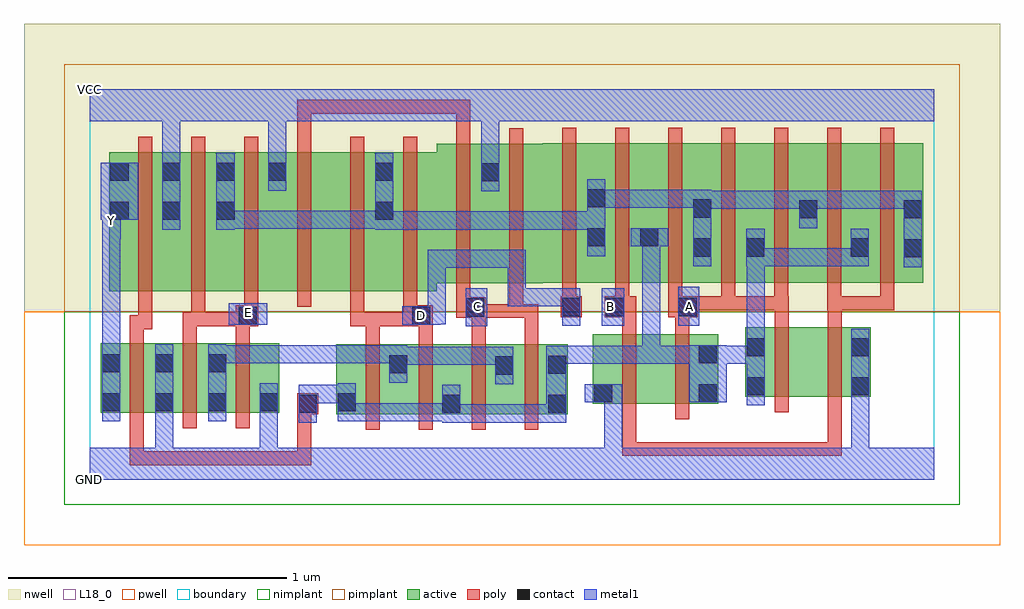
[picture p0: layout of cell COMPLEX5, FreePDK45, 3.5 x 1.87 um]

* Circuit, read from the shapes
.subckt COMPLEX5 A B C D E GND VCC Y
M1 GND n1 Y VSUBS nfet w=0.25u l=0.05u
M2 n2 E GND VSUBS nfet w=0.25u l=0.05u m=2
M3 n2 D n1 VSUBS nfet w=0.25u l=0.05u m=2
M4 n2 C n1 VSUBS nfet w=0.25u l=0.05u m=2
M5 n3 B GND VSUBS nfet w=0.25u l=0.05u
M6 n1 A n3 VSUBS nfet w=0.25u l=0.05u
M7 n4 A n1 VSUBS nfet w=0.25u l=0.05u
M8 GND B n4 VSUBS nfet w=0.25u l=0.05u
M9 VCC n1 Y n5 pfet w=0.5u l=0.05u
M10 n6 E VCC n5 pfet w=0.5u l=0.05u m=2
M11 n7 C VCC n5 pfet w=0.5u l=0.05u
M12 n6 D n7 n5 pfet w=0.5u l=0.05u
M13 n8 D n6 n5 pfet w=0.5u l=0.05u
M14 VCC C n8 n5 pfet w=0.5u l=0.05u
M15 n9 C VCC n5 pfet w=0.5u l=0.05u
M16 n6 D n9 n5 pfet w=0.5u l=0.05u
M17 n1 B n6 n5 pfet w=0.5u l=0.05u m=3
M18 n6 A n1 n5 pfet w=0.5u l=0.05u m=3
.ends

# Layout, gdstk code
import gdstk
lib = gdstk.Library(unit=1e-6, precision=1e-09)
def R(c, l, rs):  # rectangles x0, y0, x1, y1
    for r in rs: c.add(gdstk.rectangle(r[:2], r[2:], *l))
def A(c, l, x, y, w, h, nx, ny, dx, dy):  # array of equal rectangles
    R(c, l, [(x+i*dx, y+j*dy, x+i*dx+w, y+j*dy+h) for i in range(nx) for j in range(ny)])
active = (1, 0)
pwell = (2, 0)
nwell = (3, 0)
nimplant = (4, 0)
pimplant = (5, 0)
poly = (9, 0)
contact = (10, 0)
metal1 = (11, 0)
L18_0 = (18, 0)
boundary = (235, 0)

complex5 = lib.new_cell('COMPLEX5')
A(complex5, active, 1.07, 0.235, 0.265, 0.25, 3, 1, 0.19, 0)
A(complex5, active, 0.04, 0.24, 0.075, 0.25, 3, 1, 0.19, 0)
A(complex5, active, 1.78, 0.707, 0.265, 0.5, 4, 1, 0.19, 0)
A(complex5, active, 1.78, 0.707, 0.075, 0.45, 3, 1, 0.38, 0)
R(complex5, active, [(0.885,0.235,0.96,0.485), (0.885,0.235,1.145,0.485), (1.26,0.235,1.335,0.44), (1.64,0.235,1.715,0.485), (0.04,0.24,0.305,0.49), (0.23,0.24,0.495,0.49), (0.42,0.24,0.68,0.49), (0.605,0.24,0.68,0.49), (1.805,0.272,1.88,0.522), (1.805,0.272,2.03,0.522), (2.03,0.272,2.255,0.522), (2.18,0.272,2.255,0.522), (1.07,0.297,1.145,0.452), (1.45,0.297,1.525,0.447), (2.352,0.297,2.427,0.547), (2.352,0.297,2.577,0.547), (2.577,0.297,2.802,0.547), (2.727,0.297,2.802,0.547), (0.07,0.675,0.33,1.175), (0.07,0.675,0.145,1.157), (0.255,0.675,0.33,1.157), (0.255,0.675,0.525,1.175), (0.45,0.675,0.71,1.175), (0.45,0.675,0.525,1.157), (0.635,0.675,0.865,1.175), (0.865,0.675,1.095,1.175), (1.02,0.675,1.245,1.175), (1.02,0.675,1.095,1.165), (1.245,0.705,1.475,1.205), (1.4,0.705,1.625,1.205), (1.625,0.707,1.855,1.207), (1.97,0.707,2.045,1.07), (2.35,0.707,2.425,1.07), (2.54,0.707,2.8,1.207), (2.725,0.707,2.99,1.207), (2.725,0.707,2.8,1.07), (2.915,0.707,2.99,1.165), (0.635,0.777,0.71,1.175), (1.4,0.807,1.475,1.205)])
R(complex5, pwell, [(-0.235,-0.235,3.265,0.602)])
R(complex5, nwell, [(-0.235,0.602,3.265,1.635)])
R(complex5, nimplant, [(-0.09,-0.09,3.12,0.602)])
R(complex5, pimplant, [(-0.09,0.602,3.12,1.49)])
A(complex5, poly, 0.99, 0.18, 0.05, 0.36, 4, 1, 0.19, 0)
A(complex5, poly, 0.145, 0.185, 0.05, 0.36, 3, 1, 0.19, 0)
A(complex5, poly, 1.695, 0.607, 0.05, 0.095, 7, 1, 0.19, 0)
A(complex5, poly, 0.175, 0.62, 0.05, 0.61, 6, 1, 0.19, 0)
A(complex5, poly, 1.695, 0.652, 0.05, 0.61, 7, 1, 0.19, 0)
R(complex5, poly, [(0.145,0.052,0.195,0.102), (0.145,0.052,0.195,0.102), (0.145,0.052,0.195,0.102), (0.145,0.052,0.442,0.102), (0.145,0.052,0.195,0.235), (0.392,0.052,0.442,0.102), (0.392,0.052,0.442,0.102), (0.392,0.052,0.442,0.102), (0.392,0.052,0.575,0.102), (0.525,0.052,0.575,0.102), (0.525,0.052,0.575,0.102), (0.525,0.052,0.575,0.102), (0.525,0.052,0.795,0.102), (0.745,0.052,0.795,0.102), (0.745,0.052,0.795,0.285), (1.91,0.085,1.96,0.135), (1.91,0.085,1.96,0.135), (1.91,0.085,1.96,0.135), (1.91,0.085,2.092,0.135), (1.91,0.085,1.96,0.267), (2.042,0.085,2.092,0.135), (2.042,0.085,2.092,0.135), (2.042,0.085,2.092,0.135), (2.042,0.085,2.315,0.135), (2.265,0.085,2.315,0.135), (2.265,0.085,2.315,0.135), (2.265,0.085,2.315,0.135), (2.265,0.085,2.562,0.135), (2.512,0.085,2.562,0.135), (2.512,0.085,2.562,0.135), (2.512,0.085,2.562,0.135), (2.512,0.085,2.697,0.135), (2.647,0.085,2.697,0.135), (2.647,0.085,2.697,0.292), (1.91,0.217,1.96,0.577), (2.1,0.217,2.15,0.577), (0.745,0.235,0.82,0.31), (2.457,0.242,2.507,0.602), (2.647,0.242,2.697,0.602), (0.99,0.49,1.04,0.6), (1.18,0.49,1.23,0.6), (1.37,0.49,1.42,0.63), (1.56,0.49,1.61,0.63), (0.145,0.495,0.195,0.59), (0.335,0.495,0.385,0.6), (0.525,0.495,0.575,0.6), (1.91,0.527,1.96,0.632), (2.1,0.527,2.15,0.632), (0.145,0.54,0.225,0.59), (0.175,0.54,0.225,0.67), (0.335,0.55,0.415,0.6), (0.365,0.55,0.415,0.6), (0.365,0.55,0.415,0.6), (0.365,0.55,0.415,0.67), (0.365,0.55,0.575,0.6), (0.525,0.55,0.605,0.625), (0.935,0.55,0.985,0.67), (0.935,0.55,1.04,0.6), (0.99,0.55,1.175,0.6), (1.125,0.55,1.175,0.6), (1.125,0.55,1.175,0.6), (1.125,0.55,1.23,0.625), (2.457,0.552,2.507,0.657), (2.647,0.552,2.697,0.657), (0.555,0.575,0.605,0.67), (1.125,0.575,1.175,0.67), (1.315,0.58,1.42,0.655), (1.37,0.58,1.555,0.63), (1.505,0.58,1.555,0.63), (1.505,0.58,1.555,0.63), (1.505,0.58,1.555,0.7), (1.505,0.58,1.61,0.63), (1.69,0.582,1.765,0.657), (1.847,0.582,1.96,0.657), (2.075,0.582,2.182,0.657), (1.315,0.605,1.365,0.7), (2.132,0.607,2.182,0.657), (2.132,0.607,2.182,0.657), (2.132,0.607,2.315,0.657), (2.265,0.607,2.315,0.657), (2.265,0.607,2.315,0.657), (2.265,0.607,2.315,0.657), (2.265,0.607,2.505,0.657), (2.455,0.607,2.507,0.657), (2.645,0.607,2.697,0.657), (2.647,0.607,2.885,0.657), (2.647,0.607,2.697,0.657), (2.647,0.607,2.697,0.657), (2.835,0.607,2.885,0.657), (1.315,0.65,1.365,1.26), (1.505,0.65,1.555,1.26), (0.745,1.18,0.795,1.362), (1.315,1.21,1.365,1.362), (0.745,1.312,0.795,1.362), (0.745,1.312,0.795,1.362), (0.745,1.312,0.795,1.362), (0.745,1.312,1.04,1.362), (0.99,1.312,1.04,1.362), (0.99,1.312,1.172,1.362), (1.122,1.312,1.172,1.362), (1.122,1.312,1.172,1.362), (1.122,1.312,1.172,1.362), (1.122,1.312,1.365,1.362), (1.315,1.312,1.365,1.362), (1.315,1.312,1.365,1.362), (1.315,1.312,1.365,1.362)])
A(complex5, contact, 0.045, 0.245, 0.065, 0.065, 3, 2, 0.19, 0.14)
R(complex5, contact, [(0.75,0.24,0.815,0.305), (1.265,0.24,1.33,0.305), (1.645,0.24,1.71,0.305), (0.61,0.245,0.675,0.31), (0.89,0.245,0.955,0.31), (1.81,0.277,1.875,0.342), (2.185,0.277,2.25,0.342), (2.357,0.302,2.422,0.367), (2.732,0.302,2.797,0.367), (1.455,0.377,1.52,0.442), (1.645,0.38,1.71,0.445), (1.075,0.382,1.14,0.447), (2.185,0.417,2.25,0.482), (2.357,0.442,2.422,0.507), (2.732,0.442,2.797,0.507), (0.535,0.555,0.6,0.62), (1.157,0.555,1.222,0.62), (1.35,0.585,1.415,0.65), (1.695,0.587,1.76,0.652), (1.852,0.587,1.917,0.652), (2.112,0.587,2.177,0.652), (2.92,0.797,2.985,0.862), (2.165,0.8,2.23,0.865), (2.355,0.8,2.42,0.865), (2.73,0.8,2.795,0.865), (1.785,0.837,1.85,0.902), (1.975,0.837,2.04,0.902), (0.075,0.932,0.14,0.997), (0.26,0.932,0.325,0.997), (0.455,0.932,0.52,0.997), (1.025,0.932,1.09,0.997), (2.545,0.937,2.61,1.002), (2.92,0.937,2.985,1.002), (2.165,0.94,2.23,1.005), (1.785,0.977,1.85,1.042), (1.405,1.07,1.47,1.135), (0.075,1.072,0.14,1.137), (0.26,1.072,0.325,1.137), (0.455,1.072,0.52,1.137), (0.64,1.072,0.705,1.137), (1.025,1.072,1.09,1.137)])
A(complex5, metal1, 0.045, 0.21, 0.065, 0.275, 3, 1, 0.19, 0)
R(complex5, metal1, [(0,0,3.03,0.115), (0.235,0.05,0.3,0.275), (0.61,0.05,0.675,0.115), (0.61,0.05,0.675,0.115), (0.61,0.05,0.675,0.115), (0.61,0.05,0.675,0.115), (0.61,0.05,0.675,0.275), (1.845,0.05,1.91,0.342), (2.732,0.05,2.797,0.115), (2.732,0.05,2.797,0.115), (2.732,0.05,2.797,0.115), (2.732,0.05,2.797,0.115), (2.732,0.05,2.797,0.332), (0.75,0.205,0.815,0.34), (1.265,0.205,1.33,0.34), (1.265,0.205,1.427,0.27), (1.362,0.205,1.427,0.27), (1.362,0.205,1.565,0.27), (1.5,0.205,1.565,0.27), (1.5,0.205,1.565,0.27), (1.5,0.205,1.565,0.27), (1.5,0.205,1.702,0.27), (1.637,0.205,1.71,0.48), (0.235,0.21,0.3,0.275), (0.235,0.21,0.3,0.275), (0.235,0.21,0.3,0.275), (0.235,0.21,0.3,0.275), (0.61,0.21,0.675,0.345), (0.89,0.21,0.955,0.275), (0.89,0.21,0.955,0.275), (0.89,0.21,0.955,0.345), (0.89,0.21,1.14,0.275), (1.075,0.21,1.14,0.275), (1.075,0.21,1.14,0.275), (1.075,0.21,1.14,0.275), (1.075,0.21,1.33,0.275), (2.357,0.267,2.422,0.542), (2.732,0.267,2.797,0.542), (0.75,0.275,0.955,0.34), (1.775,0.277,1.91,0.342), (1.845,0.277,1.91,0.342), (1.845,0.277,1.91,0.342), (1.845,0.277,1.91,0.342), (1.845,0.277,1.91,0.342), (2.15,0.277,2.285,0.482), (1.455,0.342,1.52,0.477), (1.075,0.347,1.14,0.482), (1.075,0.412,1.14,0.477), (1.075,0.412,1.14,0.477), (1.075,0.412,1.277,0.477), (1.212,0.412,1.277,0.477), (1.212,0.412,1.415,0.477), (1.35,0.412,1.415,0.477), (1.35,0.412,1.52,0.477), (1.637,0.415,1.702,0.48), (1.637,0.415,1.702,0.48), (1.637,0.415,1.702,0.48), (1.637,0.415,1.702,0.48), (1.637,0.415,1.867,0.48), (1.802,0.415,1.867,0.48), (1.802,0.415,1.867,0.48), (1.802,0.415,1.867,0.48), (1.802,0.415,2.047,0.48), (1.982,0.415,2.047,0.48), (1.982,0.415,2.055,0.48), (1.982,0.415,2.047,0.902), (1.99,0.415,2.055,0.48), (1.99,0.415,2.215,0.48), (2.22,0.415,2.422,0.48), (2.357,0.415,2.422,0.48), (2.357,0.415,2.422,0.48), (0.425,0.417,0.675,0.482), (0.61,0.417,0.675,0.482), (0.61,0.417,0.675,0.482), (0.61,0.417,0.675,0.482), (0.61,0.417,0.812,0.482), (0.747,0.417,0.812,0.482), (0.747,0.417,0.812,0.482), (0.747,0.417,0.812,0.482), (0.747,0.417,0.952,0.482), (0.887,0.417,0.952,0.482), (0.887,0.417,1.14,0.482), (0.045,0.42,0.11,0.927), (2.357,0.477,2.422,0.542), (2.357,0.477,2.422,0.542), (2.357,0.477,2.422,0.83), (1.35,0.55,1.427,0.687), (1.695,0.552,1.76,0.687), (1.837,0.552,1.917,0.687), (2.112,0.552,2.187,0.692), (0.5,0.555,0.637,0.632), (1.122,0.555,1.257,0.622), (1.192,0.557,1.277,0.622), (1.212,0.557,1.277,0.622), (1.212,0.557,1.277,0.825), (1.5,0.622,1.565,0.687), (1.5,0.622,1.565,0.687), (1.5,0.622,1.565,0.687), (1.5,0.622,1.702,0.687), (1.5,0.622,1.565,0.825), (1.637,0.622,1.702,0.687), (1.637,0.622,1.76,0.687), (1.212,0.76,1.277,0.825), (1.212,0.76,1.415,0.825), (1.35,0.76,1.415,0.825), (1.35,0.76,1.565,0.825), (1.5,0.76,1.565,0.825), (2.92,0.762,2.985,1.037), (2.165,0.765,2.23,1.04), (2.355,0.765,2.422,0.9), (2.357,0.765,2.56,0.83), (2.495,0.765,2.56,0.83), (2.495,0.765,2.56,0.83), (2.495,0.765,2.56,0.83), (2.495,0.765,2.795,0.83), (2.73,0.765,2.795,0.83), (2.73,0.765,2.795,0.83), (2.73,0.765,2.795,0.9), (1.785,0.802,1.85,1.077), (1.94,0.837,2.075,0.902), (1.982,0.837,2.047,0.902), (1.982,0.837,2.047,0.902), (0.045,0.862,0.112,0.997), (0.26,0.897,0.325,1.172), (0.455,0.897,0.52,1.172), (1.025,0.897,1.09,1.172), (1.025,0.897,1.277,0.962), (1.212,0.897,1.277,0.962), (1.212,0.897,1.277,0.962), (1.212,0.897,1.277,0.962), (1.212,0.897,1.427,0.962), (1.362,0.897,1.427,0.962), (1.362,0.897,1.565,0.962), (1.5,0.897,1.565,0.962), (1.5,0.897,1.565,0.962), (1.5,0.897,1.565,0.962), (1.5,0.897,1.702,0.962), (1.637,0.897,1.702,0.962), (1.637,0.897,1.702,0.962), (1.637,0.897,1.702,0.962), (1.637,0.897,1.85,0.962), (0.455,0.9,0.52,0.965), (0.455,0.9,0.52,0.965), (0.455,0.9,0.657,0.965), (0.592,0.9,0.657,0.965), (0.592,0.9,0.812,0.965), (0.747,0.9,0.812,0.965), (0.747,0.9,0.812,0.965), (0.747,0.9,0.812,0.965), (0.747,0.9,1.002,0.965), (0.937,0.9,1.002,0.965), (0.937,0.9,1.09,0.965), (2.545,0.902,2.61,1.037), (0.04,0.932,0.175,1.137), (0.045,0.932,0.11,0.997), (2.165,0.972,2.23,1.037), (2.165,0.972,2.23,1.037), (2.165,0.972,2.422,1.037), (2.357,0.972,2.422,1.037), (2.357,0.972,2.61,1.037), (2.545,0.972,2.61,1.037), (2.545,0.972,2.61,1.037), (2.545,0.972,2.847,1.037), (2.782,0.972,2.847,1.037), (2.782,0.972,2.847,1.037), (2.782,0.972,2.847,1.037), (2.782,0.972,2.985,1.037), (2.92,0.972,2.985,1.037), (2.92,0.972,2.985,1.037), (1.785,0.975,1.85,1.04), (1.785,0.975,1.85,1.04), (1.785,0.975,2.077,1.04), (2.012,0.975,2.077,1.04), (2.012,0.975,2.077,1.04), (2.012,0.975,2.077,1.04), (2.012,0.975,2.23,1.04), (1.405,1.035,1.47,1.17), (0.64,1.037,0.705,1.172), (1.405,1.105,1.47,1.35), (0.26,1.107,0.325,1.172), (0.26,1.107,0.325,1.172), (0.26,1.107,0.325,1.35), (0.64,1.107,0.705,1.35), (0,1.285,3.03,1.4), (0.64,1.285,0.705,1.35), (0.64,1.285,0.705,1.35), (1.405,1.285,1.47,1.35), (1.405,1.285,1.47,1.35)])
R(complex5, L18_0, [(0,0,3.03,0.115), (0.235,0.05,0.3,0.275), (0.61,0.05,0.675,0.115), (0.61,0.05,0.675,0.115), (0.61,0.05,0.675,0.115), (0.61,0.05,0.675,0.115), (0.61,0.05,0.675,0.275), (1.845,0.05,1.91,0.342), (2.732,0.05,2.797,0.115), (2.732,0.05,2.797,0.115), (2.732,0.05,2.797,0.115), (2.732,0.05,2.797,0.115), (2.732,0.05,2.797,0.332), (0.045,0.21,0.11,0.485), (0.235,0.21,0.3,0.485), (0.235,0.21,0.3,0.275), (0.235,0.21,0.3,0.275), (0.235,0.21,0.3,0.275), (0.235,0.21,0.3,0.275), (0.61,0.21,0.675,0.345), (2.732,0.267,2.797,0.542), (1.775,0.277,1.91,0.342), (1.845,0.277,1.91,0.342), (1.845,0.277,1.91,0.342), (1.845,0.277,1.91,0.342), (1.845,0.277,1.91,0.342), (0.045,0.42,0.11,0.927), (1.35,0.55,1.427,0.687), (1.695,0.552,1.76,0.687), (1.837,0.552,1.917,0.687), (2.112,0.552,2.187,0.692), (0.5,0.555,0.637,0.632), (1.122,0.555,1.257,0.622), (1.157,0.557,1.222,0.622), (1.192,0.557,1.277,0.622), (1.212,0.557,1.277,0.622), (1.212,0.557,1.277,0.825), (0.537,0.567,0.602,0.632), (1.357,0.587,1.422,0.652), (1.837,0.587,1.902,0.652), (2.117,0.587,2.182,0.652), (1.5,0.622,1.565,0.687), (1.5,0.622,1.565,0.687), (1.5,0.622,1.565,0.687), (1.5,0.622,1.565,0.825), (1.5,0.622,1.702,0.687), (1.637,0.622,1.702,0.687), (1.637,0.622,1.76,0.687), (1.212,0.76,1.277,0.825), (1.212,0.76,1.415,0.825), (1.35,0.76,1.415,0.825), (1.35,0.76,1.565,0.825), (1.5,0.76,1.565,0.825), (0.045,0.862,0.112,0.997), (0.047,0.897,0.112,0.962), (0.26,0.897,0.325,1.172), (0.04,0.932,0.175,1.137), (0.045,0.932,0.11,0.997), (1.405,1.035,1.47,1.17), (0.64,1.037,0.705,1.172), (1.405,1.105,1.47,1.35), (0.26,1.107,0.325,1.172), (0.26,1.107,0.325,1.172), (0.26,1.107,0.325,1.35), (0.64,1.107,0.705,1.35), (0,1.285,3.03,1.4), (0.64,1.285,0.705,1.35), (0.64,1.285,0.705,1.35), (1.405,1.285,1.47,1.35), (1.405,1.285,1.47,1.35)])
R(complex5, boundary, [(0,0,3.03,1.4)])
complex5.add(gdstk.Label('A', (2.15,0.62), layer=11, texttype=0))
complex5.add(gdstk.Label('B', (1.87,0.62), layer=11, texttype=0))
complex5.add(gdstk.Label('C', (1.39,0.62), layer=11, texttype=0))
complex5.add(gdstk.Label('D', (1.19,0.59), layer=11, texttype=0))
complex5.add(gdstk.Label('E', (0.57,0.6), layer=11, texttype=0))
complex5.add(gdstk.Label('Y', (0.08,0.93), layer=11, texttype=0))
complex5.add(gdstk.Label('VCC', (0,1.4), layer=11, texttype=0))
complex5.add(gdstk.Label('GND', (0,0), layer=11, texttype=0))

lib.write_gds('COMPLEX5.gds')
